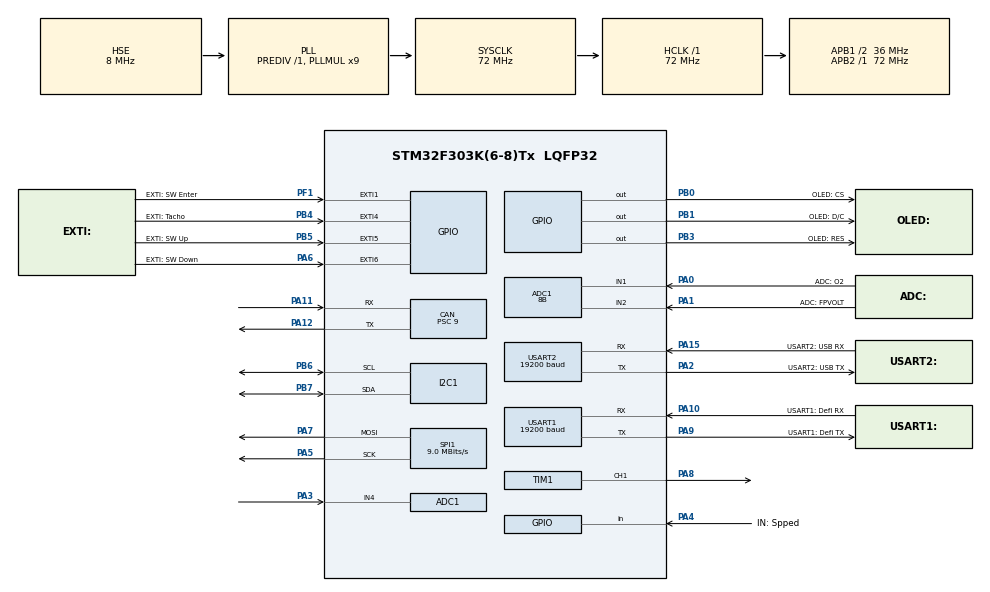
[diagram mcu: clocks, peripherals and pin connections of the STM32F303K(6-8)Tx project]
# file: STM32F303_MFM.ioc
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Mcu.Family=STM32F3
TIM2.Channel-Output\ Compare1\ No\ Output=TIM_CHANNEL_1
TIM17.Prescaler=2198-1
RCC.CortexFreq_Value=72000000
VP_TIM17_VS_ClockSourceINT.Mode=Enable_Timer
NVIC.DMA1_Channel5_IRQn=true\:0\:0\:false\:false\:true\:false\:true
PF0\ /\ OSC_IN.Mode=HSE-External-Clock-Source
SPI1.VirtualType=VM_MASTER
ADC1.ContinuousConvMode=ENABLE
PB4.GPIO_ModeDefaultEXTI=GPIO_MODE_IT_FALLING
NVIC.CAN_RX0_IRQn=true\:12\:0\:true\:false\:true\:true\:true
USART1.BaudRate=19200
USART1.WordLength=WORDLENGTH_9B
USART2.Parity=PARITY_EVEN
RCC.SYSCLKSourceVirtual=RCC_SYSCLKSOURCE_PLLCLK
PA0.GPIO_Label=ADC\: O2
PA11.Mode=Master
PB0.GPIO_Label=OLED\: CS
PA6.GPIO_Label=EXTI\: SW Down
NVIC.TIM6_DAC1_IRQn=true\:4\:0\:true\:false\:true\:true\:true
PB3.GPIO_Speed=GPIO_SPEED_FREQ_LOW
ProjectManager.StackSize=0x400
VP_TIM7_VS_ClockSourceINT.Mode=Enable_Timer
PA15.GPIO_Label=USART2\: USB RX
NVIC.EXTI1_IRQn=true\:10\:0\:true\:false\:true\:true\:true
PA12.Signal=CAN_TX
CAN.Prescaler=9
TIM1.Prescaler=72-1
SPI1.CLKPolarity=SPI_POLARITY_LOW
ADC1.Offset-0\#ChannelRegularConversion=0
SPI1.Direction=SPI_DIRECTION_2LINES
RCC.HCLKFreq_Value=72000000
ADC1.Resolution=ADC_RESOLUTION_8B
ADC1.Offset-1\#ChannelRegularConversion=0
RCC.APB2TimFreq_Value=72000000
TIM3.Period=65536-1
PB6.Signal=I2C1_SCL
Dma.ADC1.0.Direction=DMA_PERIPH_TO_MEMORY
PB6.Mode=I2C
SPI1.CalculateBaudRate=9.0 MBits/s
TIM7.Period=10000-1
ADC1.SubFamily=STM32F303x8
Dma.USART1_RX.1.MemInc=DMA_MINC_ENABLE
Dma.ADC1.0.MemDataAlignment=DMA_MDATAALIGN_HALFWORD
RCC.AHBFreq_Value=72000000
ADC1.Channel-0\#ChannelRegularConversion=ADC_CHANNEL_1
RCC.HSE_VALUE=8000000
Dma.USART1_RX.1.PeriphDataAlignment=DMA_PDATAALIGN_BYTE
VP_TIM2_VS_no_output1.Mode=Output Compare1 No Output
PA4.GPIO_PuPd=GPIO_PULLUP
USART2.VirtualMode-Asynchronous=VM_ASYNC
PA15.Mode=Asynchronous
RCC.PLLMUL=RCC_PLL_MUL9
TIM17.Period=32768-1
PA6.GPIO_PuPd=GPIO_PULLUP
TIM1.Channel-PWM\ Generation1\ CH1=TIM_CHANNEL_1
TIM3.Prescaler=360-1
PB1.GPIO_Label=OLED\: D/C
Dma.ADC1.0.PeriphInc=DMA_PINC_DISABLE
NVIC.TIM2_IRQn=true\:3\:0\:true\:false\:true\:true\:true
SPI1.DataSize=SPI_DATASIZE_8BIT
PA10.GPIO_Label=USART1\: Defi RX
PA0.Mode=IN1-Single-Ended
PB7.Signal=I2C1_SDA
PA8.Signal=S_TIM1_CH1
TIM6.Period=65536-1
PF1\ /\ OSC_OUT.GPIO_PuPd=GPIO_PULLUP
PB6.GPIO_PuPdOD=GPIO_PULLUP
CAN.CalculateTimeQuantum=250.0
VP_TIM1_VS_ClockSourceINT.Mode=Internal
ADC1.SamplingTime-0\#ChannelRegularConversion=ADC_SAMPLETIME_601CYCLES_5
PA0.Signal=ADC1_IN1
Dma.USART1_RX.1.Mode=DMA_CIRCULAR
Mcu.Package=LQFP32
TIM2.Prescaler=720-1
PB1.Signal=GPIO_Output
PA6.Signal=GPXTI6
ADC1.EnableInjectedConversion=DISABLE
PF1\ /\ OSC_OUT.GPIO_ModeDefaultEXTI=GPIO_MODE_IT_FALLING
PB6.GPIO_FM6=__NULL
PA2.GPIO_Label=USART2\: USB TX
PA10.Signal=USART1_RX
PA15.Signal=USART2_RX
ADC1.OffsetNumber-1\#ChannelRegularConversion=ADC_OFFSET_NONE
USART2.WordLength=WORDLENGTH_9B
Dma.USART1_RX.1.PeriphInc=DMA_PINC_DISABLE
PB5.GPIO_Label=EXTI\: SW Up
TIM16.AutoReloadPreload=TIM_AUTORELOAD_PRELOAD_DISABLE
Dma.Request1=USART1_RX
RCC.APB1TimFreq_Value=72000000
TIM1.Period=100-1
Dma.USART1_RX.1.Priority=DMA_PRIORITY_LOW
TIM16.Prescaler=2198-1
NVIC.USART1_IRQn=true\:5\:0\:true\:false\:true\:true\:true
Dma.Request0=ADC1
SPI1.BaudRatePrescaler=SPI_BAUDRATEPRESCALER_8
PA4.GPIO_Label=IN\: Spped
VP_TIM3_VS_ClockSourceINT.Mode=Internal
PB4.Signal=GPXTI4
PA3.Signal=ADC1_IN4
PA5.Mode=TX_Only_Simplex_Unidirect_Master
PB3.GPIO_Label=OLED\: RES
PB5.GPIO_ModeDefaultEXTI=GPIO_MODE_IT_FALLING
NVIC.CAN_TX_IRQn=true\:14\:0\:true\:false\:true\:true\:true
RCC.PLLSourceVirtual=RCC_PLLSOURCE_HSE
NVIC.EXTI4_IRQn=true\:2\:0\:true\:false\:true\:true\:true
Dma.USART1_RX.1.Instance=DMA1_Channel5
NVIC.CAN_RX1_IRQn=true\:13\:0\:true\:false\:true\:true\:true
PA6.GPIO_ModeDefaultEXTI=GPIO_MODE_IT_FALLING
Dma.ADC1.0.Instance=DMA1_Channel1
Dma.USART1_RX.1.MemDataAlignment=DMA_MDATAALIGN_BYTE
ADC1.Rank-0\#ChannelRegularConversion=1
PA7.Mode=TX_Only_Simplex_Unidirect_Master
TIM3.Channel-Output\ Compare1\ No\ Output=TIM_CHANNEL_1
PA10.Mode=Asynchronous
TIM1.CounterMode=TIM_COUNTERMODE_UP
ADC1.OffsetNumber-0\#ChannelRegularConversion=ADC_OFFSET_NONE
PA9.GPIO_Label=USART1\: Defi TX
TIM6.Prescaler=360-1
VP_TIM6_VS_ClockSourceINT.Mode=Enable_Timer
VP_TIM16_VS_ClockSourceINT.Mode=Enable_Timer
NVIC.TIM7_DAC2_IRQn=true\:11\:0\:true\:false\:true\:true\:true
RCC.APB1CLKDivider=RCC_HCLK_DIV2
NVIC.USART2_IRQn=true\:15\:0\:true\:false\:true\:true\:true
USART2.BaudRate=19200
CAN.CalculateTimeBit=1333
USART1.VirtualMode-Asynchronous=VM_ASYNC
PA3.Mode=IN4-Single-Ended
TIM1.AutoReloadPreload=TIM_AUTORELOAD_PRELOAD_DISABLE
Dma.ADC1.0.PeriphDataAlignment=DMA_PDATAALIGN_HALFWORD
PA9.Mode=Asynchronous
CAN.BS1=CAN_BS1_6TQ
SH.S_TIM1_CH1.0=TIM1_CH1,PWM Generation1 CH1
PF1\ /\ OSC_OUT.GPIO_Label=EXTI\: SW Enter
ProjectManager.TargetToolchain=Makefile
Dma.ADC1.0.Mode=DMA_CIRCULAR
Dma.ADC1.0.Priority=DMA_PRIORITY_LOW
PA9.Signal=USART1_TX
USART1.Parity=PARITY_EVEN
ADC1.Channel-1\#ChannelRegularConversion=ADC_CHANNEL_2
PB4.GPIO_PuPd=GPIO_PULLUP
PF1\ /\ OSC_OUT.Signal=GPXTI1
PA1.Signal=ADC1_IN2
PA5.Signal=SPI1_SCK
TIM7.Prescaler=720-1
board=NUCLEO-F303K8
VP_TIM3_VS_no_output1.Mode=Output Compare1 No Output
NVIC.TIM3_IRQn=true\:0\:0\:false\:false\:true\:true\:true
TIM16.Period=32768-1
RCC.APB2Freq_Value=72000000
PA1.Mode=IN2-Single-Ended
PF0\ /\ OSC_IN.Signal=RCC_OSC_IN
PB4.GPIO_Label=EXTI\: Tacho
VP_TIM2_VS_ClockSourceINT.Mode=Internal
SPI1.Mode=SPI_MODE_MASTER
PA1.GPIO_Label=ADC\: FPVOLT
ADC1.DMAContinuousRequests=ENABLE
TIM2.Period=2000-1
ADC1.NbrOfConversion=2
Mcu.Name=STM32F303K(6-8)Tx
TIM1.OCMode_PWM-PWM\ Generation1\ CH1=TIM_OCMODE_ASSYMETRIC_PWM2
PA2.Signal=USART2_TX
PB3.Signal=GPIO_Output
PA4.Signal=GPIO_Input
ADC1.SamplingTime-1\#ChannelRegularConversion=ADC_SAMPLETIME_601CYCLES_5
RCC.SYSCLKFreq_VALUE=72000000
PB5.Signal=GPXTI5
ADC1.master=1
PA12.Mode=Master
PB5.GPIO_PuPd=GPIO_PULLUP
ADC1.Rank-1\#ChannelRegularConversion=2
PB7.Mode=I2C
PA11.Signal=CAN_RX
NVIC.EXTI9_5_IRQn=true\:10\:0\:true\:false\:true\:true\:true
Dma.ADC1.0.MemInc=DMA_MINC_ENABLE
ProjectManager.HeapSize=0x200
RCC.HSI_VALUE=8000000
NVIC.TIM1_UP_TIM16_IRQn=true\:15\:0\:true\:false\:true\:true\:true
NVIC.PriorityGroup=NVIC_PRIORITYGROUP_4
ADC1.NbrOfConversionFlag=1
PA2.Mode=Asynchronous
Dma.USART1_RX.1.Direction=DMA_PERIPH_TO_MEMORY
NVIC.DMA1_Channel1_IRQn=true\:0\:0\:false\:false\:true\:false\:true
RCC.APB1Freq_Value=36000000
USART2.Mode=MODE_TX_RX
PB0.Signal=GPIO_Output
ADC1.ClockPrescaler=ADC_CLOCK_SYNC_PCLK_DIV4
PB3.GPIO_ModeDefaultOutputPP=GPIO_MODE_OUTPUT_PP
PA7.Signal=SPI1_MOSI

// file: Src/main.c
/* USER CODE BEGIN Header */
/**
  ******************************************************************************
  * @file           : main.c
  * @brief          : Main program body
  ******************************************************************************
  * @attention
  *
  * <h2><center>&copy; Copyright (c) 2019 STMicroelectronics.
  * All rights reserved.</center></h2>
  *
  * This software component is licensed by ST under BSD 3-Clause license,
  * the "License"; You may not use this file except in compliance with the
  * License. You may obtain a copy of the License at:
  *                        opensource.org/licenses/BSD-3-Clause
  *
  ******************************************************************************
  */
/* USER CODE END Header */
#include "main.h"
#include "adc.h"
#include "can.h"
#include "dma.h"
#include "i2c.h"
#include "spi.h"
#include "tim.h"
#include "usart.h"
#include "gpio.h"

/* USER CODE BEGIN Includes */
#include <stdio.h>
#include <math.h>

// #include "basic.h"  // original library
#include "usart_transmit_printf.h"
#include "u8g2.h"		// graphic display library
#include "u8x8_gpio_STM32F303.h"
#include "u8x8_byte_4wire_hw_spi.h"
#include "draw_Value.h"
#include "draw_BarGraph.h"
#include "draw_IndicatorBox.h"
//#include "draw_Rotary.h"

#include "flag.h"
#include "defi_decoder.h"
#include "pulse_counter.h"
#include "can_obd.h"
#include "gsens_ADXL345.h"

/* USER CODE END Includes */

/* USER CODE BEGIN PV */
/* Private variables ---------------------------------------------------------*/

// Debug
#define DEBUG_USBserial       0

// GSENS USB serial output
#define GSENS_USBserial       1

// mode definition
#define N_mode                6

#define MODE_BAR_METER        0
#define MODE_CIRCULAR_METER   1
// #define MODE_ROTARY           2
#define MODE_SCOPE_MAP        2
#define MODE_Gsens            3
#define MODE_SCOPE_Gsens      4
#define MODE_SETTING          5

// RPM bar graph parameter definition
#define	rpmbar_x		          0
#define	rpmbar_y		          0
#define	rpmbar_width	        128
#define	rpmbar_height	        14
#define	rpm_min			          0
#define	rpm_max			          9000

//// measurements display parameter definition
// Bar graph
#define	N_meas			          6
#define	meas_x			          0
#define	meas_y			          16
#define	meas_x_offset       	2
#define	meas_width1		        70
#define	meas_width2		        56
#define	meas_height		        12
// Circular Meter
#define	N_meas_Circ			      4
#define	meas_Circ_x			      68
#define	meas_Circ_y			      2
#define	meas_Circ_x_offset		2
#define	meas_Circ_width		    60
#define	meas_Circ_height		  13

// Gsens monitor
#define	N_Gmoni			          6
#define	Gmoni_x			          0
#define	Gmoni_y			          0
#define	Gmoni_x_offset       	2
#define	Gmoni_width 		      64
#define	Gmoni_height		      12
// wave display parameter definition
#define	Gcirc_x			          13 // 32 - 38/2
#define	Gcirc_y			          24
#define	Gcirc_size		        38
#define	Gcirc_scale		        200

// indicators parameter definition
#define	N_idct			          2
#define	idct_x			          72
#define	idct_y			          53
 #define	idct_width		      27 // 2-items
// #define	idct_width		    17 // 3-item
#define	idct_height		        9

//  Fuel Pump Voltage display parameter definition
#define	FP_x		    	        0
#define	FP_y                  52
#define	FP_height	            12
#define	FP_volt_width	        45
#define	FP_duty_width	        70

// wave display parameter definition
#define	wave_x			          0
#define	wave_y			          14
#define	wave_width		        128
#define	wave_height		        50
#define	wave_value_min	      -100
#define	wave_value_max	      +200

// einfini logo definition (small 'enfini' logo)
#define enfini_logo_width        48
#define enfini_logo_height       48
const unsigned char enfini_logo[] = {
  0x00, 0x00, 0x00, 0x00, 0x00, 0x00, 0x00, 0x00, 0x00, 0x00, 0x00, 0x00,
  0x00, 0x00, 0x00, 0x00, 0x00, 0x00, 0x00, 0x00, 0x00, 0x00, 0x00, 0x00,
  0x00, 0x00, 0xF0, 0x0F, 0x00, 0x00, 0x00, 0xFC, 0xFF, 0xFF, 0x3F, 0x00,
  0x80, 0xFF, 0xFF, 0xFF, 0xFF, 0x01, 0xE0, 0x1F, 0x00, 0x80, 0xFF, 0x07,
  0xE0, 0x01, 0x00, 0x80, 0x81, 0x07, 0xE0, 0x01, 0x00, 0x80, 0x81, 0x07,
  0xC0, 0xE1, 0x07, 0xC0, 0x80, 0x03, 0x00, 0xFC, 0x1F, 0xE0, 0x80, 0x03,
  0x00, 0xFE, 0x7F, 0x70, 0xC0, 0x01, 0x00, 0x0F, 0xFE, 0x39, 0xE0, 0x00,
  0x00, 0x07, 0xF8, 0x1F, 0xF0, 0x00, 0x00, 0x0E, 0xE0, 0x1F, 0x78, 0x00,
  0x00, 0x0C, 0xC0, 0xFF, 0x3F, 0x00, 0x00, 0x18, 0x00, 0xFF, 0x1F, 0x00,
  0x00, 0x38, 0xC0, 0xFF, 0x0F, 0x00, 0x00, 0x70, 0xE0, 0xF1, 0x03, 0x00,
  0x00, 0xE0, 0x78, 0x00, 0x00, 0x00, 0x00, 0xC0, 0x3F, 0xE0, 0x01, 0x00,
  0x00, 0x80, 0x1F, 0xF0, 0x01, 0x00, 0x00, 0x00, 0x07, 0xF8, 0x00, 0x00,
  0x00, 0x00, 0x1E, 0x7C, 0x00, 0x00, 0x00, 0x00, 0xF8, 0x1F, 0x00, 0x00,
  0x00, 0x00, 0xF0, 0x0F, 0x00, 0x00, 0x00, 0x00, 0x80, 0x01, 0x00, 0x00,
  0x00, 0x00, 0x00, 0x00, 0x00, 0x00, 0x00, 0x00, 0x00, 0x00, 0x00, 0x00,
  0x00, 0x00, 0x00, 0x00, 0x00, 0x00, 0x00, 0x00, 0x00, 0x00, 0x00, 0x00,
  0x00, 0x00, 0x00, 0x00, 0x00, 0x00, 0x00, 0x4C, 0x1C, 0x00, 0x00, 0x00,
  0x00, 0x32, 0x0E, 0x00, 0x00, 0x00, 0x00, 0x00, 0xC6, 0x00, 0x18, 0x00,
  0x00, 0x7C, 0xEF, 0xFC, 0x39, 0x00, 0x00, 0x4E, 0xC6, 0xB8, 0x31, 0x00,
  0x00, 0x3E, 0xC6, 0x98, 0x31, 0x00, 0x00, 0x3C, 0xC6, 0x98, 0x31, 0x00,
  0x00, 0x0E, 0xC6, 0x98, 0x31, 0x00, 0x00, 0x4E, 0xCE, 0x99, 0x31, 0x00,
  0x00, 0x7C, 0xEF, 0xFD, 0x7B, 0x00, 0x00, 0x00, 0x00, 0x00, 0x00, 0x00,
  0x00, 0x00, 0x00, 0x00, 0x00, 0x00, 0x00, 0x00, 0x00, 0x00, 0x00, 0x00,
  0x00, 0x00, 0x00, 0x00, 0x00, 0x00, 0x00, 0x00, 0x00, 0x00, 0x00, 0x00,
  };

/*
// enfini logo definition (meidium 'enfini' logo)
#define logo_width        54
#define logo_height       48
static unsigned char enfini_logo[] = {
  0x00, 0x00, 0x00, 0x00, 0x00, 0x00, 0x00, 0x00, 0x00, 0xF8, 0xFF, 0x0F,
  0x00, 0x00, 0x00, 0xFC, 0xFF, 0xFF, 0xFF, 0x1F, 0x00, 0xE0, 0xFF, 0xFF,
  0xFF, 0xFF, 0xFF, 0x01, 0xF8, 0x3F, 0x00, 0x00, 0xF0, 0xFF, 0x07, 0xF8,
  0x01, 0x00, 0x00, 0x70, 0xE0, 0x0F, 0x7C, 0x00, 0x00, 0x00, 0x70, 0x80,
  0x0F, 0x7C, 0x00, 0x00, 0x00, 0x70, 0x00, 0x07, 0xF8, 0x00, 0x00, 0x00,
  0x38, 0x80, 0x07, 0x00, 0xF8, 0x3F, 0x00, 0x38, 0x80, 0x07, 0x00, 0xFE,
  0xFF, 0x00, 0x1C, 0xC0, 0x03, 0x80, 0xFF, 0xFF, 0x01, 0x0E, 0xC0, 0x01,
  0xC0, 0x07, 0xFC, 0x07, 0x07, 0xE0, 0x01, 0x80, 0x03, 0xF0, 0x9F, 0x03,
  0xF0, 0x00, 0x80, 0x03, 0xC0, 0xFF, 0x03, 0x78, 0x00, 0x00, 0x07, 0x80,
  0xFF, 0x01, 0x3C, 0x00, 0x00, 0x06, 0x00, 0xFE, 0x87, 0x3F, 0x00, 0x00,
  0x0E, 0x00, 0xF8, 0xFF, 0x1F, 0x00, 0x00, 0x1C, 0x00, 0xF8, 0xFF, 0x07,
  0x00, 0x00, 0x38, 0x00, 0xDE, 0xFF, 0x03, 0x00, 0x00, 0x70, 0x00, 0x0F,
  0x7E, 0x00, 0x00, 0x00, 0xE0, 0xC0, 0x07, 0x00, 0x00, 0x00, 0x00, 0xC0,
  0xF1, 0x01, 0x00, 0x00, 0x00, 0x00, 0x80, 0xFF, 0x00, 0x7C, 0x00, 0x00,
  0x00, 0x00, 0x3F, 0x00, 0x3E, 0x00, 0x00, 0x00, 0x00, 0x0E, 0x00, 0x1F,
  0x00, 0x00, 0x00, 0x00, 0x3C, 0x80, 0x0F, 0x00, 0x00, 0x00, 0x00, 0x78,
  0xE0, 0x07, 0x00, 0x00, 0x00, 0x00, 0xE0, 0xFF, 0x03, 0x00, 0x00, 0x00,
  0x00, 0xC0, 0xFF, 0x00, 0x00, 0x00, 0x00, 0x00, 0x00, 0x3E, 0x00, 0x00,
  0x00, 0x00, 0x00, 0x00, 0x00, 0x00, 0x00, 0x00, 0x00, 0x00, 0x30, 0x00,
  0x00, 0x00, 0x00, 0x00, 0x4E, 0x38, 0x00, 0x00, 0x00, 0x00, 0x00, 0x39,
  0x18, 0x00, 0x00, 0x00, 0x00, 0x00, 0x00, 0x1C, 0x00, 0x00, 0x00, 0x00,
  0x00, 0x7E, 0x3E, 0xC7, 0x3D, 0x1C, 0x00, 0x00, 0x6F, 0x3E, 0xC7, 0x7F,
  0x1C, 0x00, 0x00, 0x03, 0x1C, 0x86, 0x73, 0x18, 0x00, 0x00, 0x07, 0x1C,
  0x86, 0x71, 0x18, 0x00, 0x00, 0x3E, 0x1C, 0x86, 0x71, 0x18, 0x00, 0x00,
  0x1F, 0x1C, 0x86, 0x71, 0x18, 0x00, 0x00, 0x03, 0x1C, 0x86, 0x71, 0x18,
  0x00, 0x00, 0x47, 0x1C, 0x86, 0x71, 0x18, 0x00, 0x00, 0x7F, 0x3E, 0xCF,
  0xFB, 0x3C, 0x00, 0x00, 0x3C, 0x3E, 0xCF, 0xFB, 0x3C, 0x00, 0x00, 0x00,
  0x00, 0x00, 0x00, 0x00, 0x00, 0x00, 0x00, 0x00, 0x00, 0x00, 0x00, 0x00,
  };
*/

u8g2_t    u8g2; // a structure which will contain all the data for one display

uint8_t   update_display = 0;

uint8_t		gear = 0;
double		MT[5] = {3.483, 2.015, 1.391, 1.000, 0.806};

// UI
uint8_t   mode;
uint8_t   setting;
uint8_t   cursor = 0;

// Dummy data generation for debug
uint8_t   DUMMY_DATA;

// variables for indicators
const unsigned char idct_name[N_idct][5] = { // length must be (text length + 1)
		"CAN"	,
		"GSENS"	,
};

uint8_t	idct_status[N_idct] = {
		0	,
		0
};

// variables for measurement
const unsigned char meas_name[N_meas][7] = { // length must be (text length + 1)
		"MAP"         ,
		"OILP"        ,
		"FPV"         ,
		"ECT"         ,
		"OILT"        ,
//		"O2"
    "ES" // tacho_debug
};

const unsigned char meas_unit[N_meas][5] = {
		"kpa"			    ,	// MAP
		"kpa"			    ,	// OILP
		"V  "         ,	// FuelPump Voltage
		{176, 67, 0}  ,	// ECT  degC...{176, 67, 0}
		{176, 67, 0}	,	// OILT  degC...{176, 67, 0}
//		"V"					    // O2
    "rpm" // tacho_debug
};

const uint8_t	meas_digit[N_meas] = {
		3	,	// MAP
		3	,	// OILP
		3	,	// FuelPump Voltage
		3	,	// ECT
		3	,	// OILT
//		3		// O2
		4		// tacho_debug
};

const uint8_t	meas_frac[N_meas] = {
		2	,	// MAP
		1	,	// OILP
		1	,	// FuelPump Voltage
		0	,	// ECT
		0	,	// OILT
//		2		// O2
		0		// tacho_debug
};

const uint8_t	meas_sign[N_meas] = {
		1	,	// MAP
		0	,	// OILP
		0	,	// FuelPump Voltage
		0	,	// ECT
		0	,	// OILT
		0		// O2
};

int16_t	meas_value[N_meas] = {
		105	,	// MAP
		235	,	// OILP
		645	,	// FuelPump Voltage
		89	,	// ECT
		73	,	// OILT
		143		// O2
};

const unsigned char Gmoni_name[N_Gmoni][7] = { // length must be (text length + 1)
		"X0"         ,
		"Y0"        ,
		"Z0"         ,
		"X1"         ,
		"Y1"        ,
		"Z1"
};

int16_t	Gmoni_value[N_Gmoni] = {
		0	  ,	//
		0	  ,	//
		100	,	//
		0	  ,	//
		0	  ,	//
		100		//
};

// O2 senser Voltage
int16_t   O2_volt = 330;

// Fuel Pump Voltage
int16_t   FP_volt = 330;
int16_t   FP_duty = 100;

// CAN Tranceiver --------------------------------------------------
uint8_t   CAN_EN;

// ADXL345 3-axis acceration sensor --------------------------------
uint8_t   Gsens0_EN;
uint8_t   Gsens1_EN;

/* USER CODE END PV */

void SystemClock_Config(void);
/* USER CODE BEGIN PFP */
/* Private function prototypes -----------------------------------------------*/

/* USER CODE END PFP */

/* USER CODE BEGIN 0 */

void draw_indicators(){
  uint8_t n;
  uint8_t x, y;
  // draw indicators

  for( n=0; n<N_idct; n++ ){
    draw_IndicatorBox(&u8g2, idct_x+(idct_width+2)*n, idct_y, idct_width, idct_height, idct_status[n], idct_name[n]);
  }
}

void draw_MeasLabels(){
  uint8_t n;
  uint8_t x, y;
  // draw measurements label & unit
  for( n=0; n<3; n++ ){
    x = meas_x;
	  y = (n % 3) * meas_height	+ meas_y;
	  draw_MeasLabelUnit(&u8g2, x, y, meas_width1, meas_height, meas_name[n], meas_unit[n]);
  }
  for( n=3; n<N_meas; n++ ){
	  x = meas_width1 + meas_x + meas_x_offset;
	  y = (n % 3) * meas_height	+ meas_y;
	  draw_MeasLabelUnit(&u8g2, x, y, meas_width2, meas_height, meas_name[n], meas_unit[n]);
  }

  // Fuel Pump voltage & duty
  draw_MeasLabelUnit(&u8g2, FP_x, FP_y, FP_duty_width, FP_height, "DUTY", "%  ");
  draw_Value(&u8g2, FP_x, FP_y, FP_duty_width, FP_height, 100, 3, 0, 0, "%  ");
}

void draw_MeasLabels_Rotary(){
  uint8_t n;
  uint8_t x, y;
  // draw measurements label & unit
  for( n=0; n<4; n++ ){
	  x = meas_x;
	  y = (n % 4) * meas_height	+ meas_y;
	  draw_MeasLabelUnit(&u8g2, x, y, meas_width1, meas_height, meas_name[n], meas_unit[n]);
  }
}

void draw_GmoniLabels(){
  uint8_t n;
  uint8_t x, y;
  // draw measurements label & unit
  for( n=0; n<3-1; n++ ){
    x = Gmoni_x;
	  y = (n % 3) * Gmoni_height	+ Gmoni_y;
	  draw_MeasLabelUnit(&u8g2, x, y, Gmoni_width, Gmoni_height, Gmoni_name[n], "G");
  }
  for( n=3; n<N_Gmoni-1; n++ ){
	  x = Gmoni_width + Gmoni_x + Gmoni_x_offset;
	  y = (n % 2) * Gmoni_height	+ Gmoni_y;
	  draw_MeasLabelUnit(&u8g2, x, y, Gmoni_width, Gmoni_height, Gmoni_name[n], "G");
  }

}

// volatile unsigned char    UART1_Data;
volatile unsigned char    UART2_Data;

// UART Receive Interrupt
void HAL_UART_RxCpltCallback(UART_HandleTypeDef *UartHandle){

  // UART1 for defi : DMA
  if(UartHandle->Instance==USART2){ // USB serial
    HAL_UART_Receive_IT(&huart2, &UART2_Data, 1);
    HAL_UART_Transmit_printf(&huart2, "Received data : %c\n", UART2_Data);
  }

}

// ADC buffer definition
enum{ ADC_BUFFER_LENGTH = 10 };
uint16_t g_ADCBuffer[ADC_BUFFER_LENGTH];
uint16_t adc[ADC_BUFFER_LENGTH];

void HAL_ADC_ConvCpltCallback(ADC_HandleTypeDef* hadc){
	for (unsigned int i =0; i<ADC_BUFFER_LENGTH; i++){
	   adc[i] = g_ADCBuffer[i];  // store the values in adc[]
	}
}

/* USER CODE END 0 */

int main(void)
{

  /* MCU Configuration--------------------------------------------------------*/

  /* Reset of all peripherals, Initializes the Flash interface and the Systick. */
  HAL_Init();

  /* USER CODE BEGIN Init */
  uint8_t n;
  uint8_t x, y;

  uint8_t a = 0; // for dummy data
  uint8_t b = 0; // for dummy data

  // ROTARY
  uint16_t  rpm_integral;
  uint8_t   index_animation;

  // circular buffer for ADC data
  uint16_t  circular_buffer_index = 0;
  int16_t   circular_buffer[128]={};

  /* USER CODE END Init */

  /* Configure the system clock */
  SystemClock_Config();

  /* Initialize all configured peripherals */
  MX_GPIO_Init();
  MX_DMA_Init();
  MX_ADC1_Init();
  MX_CAN_Init();
  MX_I2C1_Init();
  MX_SPI1_Init();
  MX_TIM1_Init();
  MX_TIM2_Init();
  MX_TIM3_Init();
  MX_TIM6_Init();
  MX_USART1_UART_Init();
  MX_USART2_UART_Init();
  MX_TIM7_Init();
  MX_TIM16_Init();
  MX_TIM17_Init();
  /* USER CODE BEGIN 2 */

  ///// PWM initialize ----------------------------------------------------------------

  ///// Timer /////
  // TIM1 - PWM for Fuel Pump Driver (Cycle 100kHz = 1MHz / 100count)
  //  if (HAL_TIM_Base_Start_IT(&htim1) != HAL_OK){
  if (HAL_TIM_PWM_Start(&htim1, TIM_CHANNEL_1) != HAL_OK){
    Error_Handler();
  }

  // TIM2 - display (Cycle 20ms = 1/100kHz x 2,000count)
  if (HAL_TIM_Base_Start_IT(&htim2) != HAL_OK){
    Error_Handler();
  }

  // TIM3 - Pulse counter for Tacho (f 200kHz, count 65535)
  if (HAL_TIM_Base_Start_IT(&htim3) != HAL_OK){
    Error_Handler();
  }

  // TIM6 - Pulse counter for Speed (f 200kHz, count 65535)
  if (HAL_TIM_Base_Start_IT(&htim6) != HAL_OK){
    Error_Handler();
  }

  // TIM7 - SW interrupt control (Cycle 100ms = 1/100kHz x 10,000count)
  if (HAL_TIM_Base_Start_IT(&htim7) != HAL_OK){
    Error_Handler();
  }

  // TIM16 - Status control (Cycle 1000ms = 1/32.757kHz x 32,768count)
  if (HAL_TIM_Base_Start_IT(&htim16) != HAL_OK){
    Error_Handler();
  }

  // TIM17 - Status control (Cycle 1000ms = 1/32.757kHz x 32,768count)
  if (HAL_TIM_Base_Start_IT(&htim17) != HAL_OK){
    Error_Handler();
  }

  // ADC
  HAL_ADC_Start_DMA(&hadc1, g_ADCBuffer, ADC_BUFFER_LENGTH);

  // UART1 interrupt setup for DEFI decoder
  defi_init(); // DMA
  HAL_UART_Receive_DMA(&huart1, &UART_RxData, sizeof(UART_RxData));
  // HAL_UART_Receive_IT(&huart1, &UART1_Data, 1);
  // variables is defined in 'defi_decoder.h'

  // UART2 interrupt setup for USB serial
  HAL_UART_Receive_IT(&huart2, &UART2_Data, 1);

  // CAN initialization
  CAN_OBD_Init();

  // DEMO MODE
  if( HAL_GPIO_ReadPin( GPIOF, GPIO_PIN_1 ) == 0 ){ // PF1 is pushed ?
    DUMMY_DATA = 1;
  }

  // OLED diaplay initialization
  // 128x64 2.42inch SPI
   u8g2_Setup_ssd1309_128x64_noname2_f(&u8g2, U8G2_R0, u8x8_byte_4wire_hw_spi, u8x8_gpio_and_delay_STM32F303);  // init u8g2 structure
  // 128x64 1.3inch SPI
  //u8g2_Setup_sh1106_128x64_noname_f(&u8g2, U8G2_R0, u8x8_byte_4wire_hw_spi, u8x8_gpio_and_delay_STM32F303);  // init u8g2 structure

  // OLED display Reset (must be more than 3us!!)
  HAL_GPIO_WritePin( GPIOB, GPIO_PIN_3, 0); // Set RES=L (OLED Reset)
  HAL_Delay(5);
  HAL_GPIO_WritePin( GPIOB, GPIO_PIN_3, 1); // Set RES=H (OLED activate)

  u8g2_InitDisplay(&u8g2); // send init sequence to the display, display is in sleep mode after this,
  u8g2_SetPowerSave(&u8g2, 0); // wake up display
  u8g2_SetContrast(&u8g2, 255); // set contrast
  u8g2_ClearDisplay(&u8g2);

  // draw opening
  u8g2_DrawXBMP(&u8g2, 40, 0, enfini_logo_width, enfini_logo_height, enfini_logo );

  u8g2_SetFont(&u8g2, u8g2_font_5x7_tf);
  u8g2_DrawStr(&u8g2, 16, 63 - 8, "Multi Function Meter");
  u8g2_DrawStr(&u8g2, 40, 64, "Rev. 0.5a");
  u8g2_SendBuffer(&u8g2);
  if( DUMMY_DATA ){
    u8g2_DrawStr(&u8g2, 0, 8, "DUMMY DATA MODE");
    u8g2_SendBuffer(&u8g2);
    HAL_Delay(500);
  }
  u8g2_SendBuffer(&u8g2);

  HAL_Delay(1000);

  u8g2_ClearBuffer(&u8g2);

  HAL_UART_Transmit_printf(&huart2, "Hello. This is MFM.\n");

  // Set PWM Duty for Timer1 / Output1 (Asymmetric PWM2)
  TIM1->CCR1 = (100 - FP_duty);

  /* USER CODE END 2 */

  /* Infinite loop */
  /* USER CODE BEGIN WHILE */

  draw_MeasLabels();
  draw_indicators();
  u8g2_SendBuffer(&u8g2);

  // I2C communication to ADXL345(3-axis G-sensor)
  Gsens0_EN = Gsens_ADXL345_Init(0);
  Gsens1_EN = Gsens_ADXL345_Init(1);

  while(1){
    /* USER CODE END WHILE */

    /* USER CODE BEGIN 3 */

/*
    // DEBUG - Defi value monitor
    for( n=0; n<7; n++ ){
      HAL_UART_Transmit_printf(&huart2, "%d, ", DEFI_value[n]);
    }
    HAL_UART_Transmit_printf(&huart2, "\n");
    // DEBUG - Defi value monitor
*/

    // UART1 Error control
    if (  __HAL_UART_GET_FLAG(&huart1, UART_FLAG_ORE) || __HAL_UART_GET_FLAG(&huart1, UART_FLAG_NE) ||
          __HAL_UART_GET_FLAG(&huart1, UART_FLAG_FE ) || __HAL_UART_GET_FLAG(&huart1, UART_FLAG_PE) ){
      HAL_UART_Abort(&huart1);
      HAL_UART_Receive_DMA(&huart1, &UART_RxData, sizeof(UART_RxData)); //DMA
      //HAL_UART_Receive_IT(&huart1, &UART1_Data, 1); // Interrupt
    }

    ///// STATUS ----------------------------------------------------------------
    if( flag_status ){
      CAN_EN = 0;
      flag_status = 0;
    }

    if( CAN_EN == 0 ){
      CAN_EN = CAN_Received;
    }

    idct_status[0] = CAN_EN;
    idct_status[1] = Gsens0_EN & Gsens1_EN;

    ///// ADC ----------------------------------------------------------------

		// read O2 sensor ADC output
		O2_volt = (int16_t)(100.0 * 3.3 * (float)adc[0]/255.0);
    // Resister attenation ratio
    //    O2 amp : 1
    //    MFM Board : 1
    // Fractional digit : 0.01 = 100.0

		// read Fuel Pump Voltage ADC output
		FP_volt = (int16_t)(5.0 * 2.0 * 10.0 * 3.3 * (float)adc[1]/255.0);
    // Resister attenation ratio
    //    Fuel Pump driver : 1/5
    //    MFM Board : 1/2
    // Fractional digit : 0.1 = 10.0

    ///// CAN ----------------------------------------------------------------

    CAN_OBD_Response(DEFI_value[0], rpm, speed, 0x00, DEFI_value[6], DEFI_value[5], DEFI_value[3], 0);
    //               MAP          , RPM, Speed, TPS , CoolantTemp  , OilTemp      , FuelPress    , IntakeAirTemp

    ///// Fuel Pump Driver ----------------------------------------------------------------
    // Duty calculation
    if( (rpm >= 3000)|(DEFI_value[0] > 0) ){ // DEFI_value[0] .. MAP
      FP_duty = 100;
    }else{
      FP_duty = (uint16_t)((float)rpm/3000.0*100.0);
    }
    // Saturation process
    if( FP_duty > 100 ){
      FP_duty = 100;
    }else if( FP_duty < 60 ){
      FP_duty = 60;
    }
    // Set PWM Duty for Timer1 / Output1 (Asymmetric PWM2)
    TIM1->CCR1 = (100 - FP_duty);

    ///// Measure data  ----------------------------------------------------------------
    defi_decoder(); // DEFI decoder

/*
// defi link tacho meter debug ==========================================
    HAL_UART_Transmit_printf(&huart2, "%d,%d,%d\n", DEFI_debug, DEFI_debug2, rpm);
*/

    if( flag_meas ){

      // I2C communication to ADXL345(3-axis G-sensor)
      if( Gsens0_EN ){
        // Acceration 1G = 100
        Gmoni_value[0] = Gsens_ADXL345_Read_G('x', 0);
        Gmoni_value[1] = Gsens_ADXL345_Read_G('y', 0);
        Gmoni_value[2] = Gsens_ADXL345_Read_G('z', 0);

        #ifdef GSENS_USBserial
          HAL_UART_Transmit_printf(&huart2, "Ch0, %d, %d , %d,   ", Gmoni_value[0], Gmoni_value[1], Gmoni_value[2]);
        #endif
      }

      if( Gsens1_EN ){
        // Acceration 1G = 100
        Gmoni_value[3] = Gsens_ADXL345_Read_G('x', 1);
        Gmoni_value[4] = Gsens_ADXL345_Read_G('y', 1);
        Gmoni_value[5] = Gsens_ADXL345_Read_G('z', 1);

        #ifdef GSENS_USBserial
          HAL_UART_Transmit_printf(&huart2, "Ch1, %d, %d, %d\n", Gmoni_value[3], Gmoni_value[4], Gmoni_value[5]);
        #endif
      }

      // Measure values
      meas_value[0] = DEFI_value[0];  // MAP
		  meas_value[1] = DEFI_value[2];  // OILP
			meas_value[2] = FP_volt;        // FuelPump Voltage
		  meas_value[3] = DEFI_value[6];  // ECT
			meas_value[4] = DEFI_value[5];  // OILT
//		  meas_value[5] = O2_volt;        // O2
		  meas_value[5] = DEFI_value[1];  // TACHO // DEBUG TACHO

      if( DUMMY_DATA ){
        // MAP
        if( DEFI_value[0] > 90 ){
          DEFI_value[0] = -60;
        }else{
          DEFI_value[0] = DEFI_value[0] + 1;
        }
        // OILP
        if( DEFI_value[2] > 60 ){
          DEFI_value[2] = 15;
        }else{
          DEFI_value[2] = DEFI_value[2] + 1;
        }
        // ECT
        if( DEFI_value[6] > 120 ){
          DEFI_value[6] = 60;
        }else{
          DEFI_value[6] = DEFI_value[6] + 1;
        }
        // OILT
        if( DEFI_value[5] > 120 ){
          DEFI_value[5] = 50;
        }else{
          DEFI_value[5] = DEFI_value[5] + 1;
        }
        // Tacho
        if( rpm > 8500 ){
          rpm = 750;
        }else{
          rpm = 0;
        }
      }

      flag_meas = 0; // enable again by TIM2 interrupt

    }

    ///// Switch ----------------------------------------------------------------
    if( flag_sw != 0 ){
      #if DEBUG_USBserial
      HAL_UART_Transmit_printf(&huart2, " SW="); // debug
      #endif
      switch( flag_sw ){
        case 1: // SW "UP"
          #if DEBUG_USBserial
          HAL_UART_Transmit_printf(&huart2, "UP "); // debug
          #endif
          HAL_NVIC_DisableIRQ(EXTI9_5_IRQn); // Re-Enable IRQ by Timer(TIM7) in stm32f3xx_it.c
          if( mode != MODE_SETTING ){
            if( mode == N_mode-1 ){
              mode = 0;
            }else{
              mode++;
            }
          }
          break;
        case 2: // SW "DOWN"
          #if DEBUG_USBserial
          HAL_UART_Transmit_printf(&huart2, "DOWN "); // debug
          #endif
          HAL_NVIC_DisableIRQ(EXTI9_5_IRQn); // Re-Enable IRQ by Timer(TIM7) in stm32f3xx_it.c
          if( mode != MODE_SETTING ){
            if( mode == 0 ){
              mode = N_mode-1;
            }else{
              mode--;
            }
          }
          break;
        case 3: // SW "ENTER"
          #if DEBUG_USBserial
          HAL_UART_Transmit_printf(&huart2, "ENTER "); // debug
          #endif
          HAL_NVIC_DisableIRQ (EXTI1_IRQn); // Re-Enable IRQ by Timer in stm32f3xx_it.c

          // if( setting == 0 ){
          //   mode = cursor;
          //   u8g2_ClearBuffer(&u8g2);
          // }else{
          //   mode = 10;
          // }
          // break;

        default:
          break;
      }

      u8g2_ClearBuffer(&u8g2);
      if( mode == MODE_BAR_METER ){
        draw_MeasLabels();
        draw_indicators();

      }else if( mode == MODE_CIRCULAR_METER ){
        for( n=0; n<N_meas_Circ; n++ ){
          x = meas_Circ_x;
          y = n * meas_Circ_height	+ meas_Circ_y;
          draw_MeasLabelUnit(&u8g2, x, y, meas_Circ_width, meas_Circ_height, meas_name[n], meas_unit[n]);
        }
        // draw indicators
        for( n=0; n<4; n++ ){
          draw_IndicatorBox(&u8g2, idct_x+(idct_width+2)*n, idct_y, idct_width, idct_height, idct_status[n], idct_name[n]);
        }
        draw_CircularMeter_Init(32, 32, 31, 3, -60, 300, 10, 20, -1, -80, 120);
//        draw_CircularMeter_Init(26, 26, 26, 3, -60, 300, 10, 20, -1, -80, 120);
        draw_CircularMeter(&u8g2, 0);
/*
      }else if( mode == MODE_ROTARY ){
        draw_MeasLabels_Rotary();
        draw_MeasLabelUnit(&u8g2, 0, 2, meas_width1, meas_height, "TACHO", "rpm");
*/
      }else if( mode == MODE_SCOPE_MAP ){
        draw_Wave_axis(&u8g2, wave_x, wave_y, wave_width, wave_height, wave_value_min, wave_value_max, 3);
        draw_MeasLabelUnit(&u8g2, 0, 0, 64, 13, "MAP", "kPa");

      }else if( mode == MODE_Gsens ){
        draw_GmoniLabels();

      }else if( mode == MODE_SCOPE_Gsens ){
        draw_Wave_axis(&u8g2, wave_x, wave_y, wave_width, wave_height, -200, 200, 4);
        draw_MeasLabelUnit(&u8g2, 0, 0, 128, 13, "2ch Average LatG", "G");

      }
      u8g2_SendBuffer(&u8g2);

      TIM7->CNT = 0;

      flag_sw = 0;
    }

    ///// Display sequence ----------------------------------------------------------------
    if( flag_disp ){

      ///// multi meter /////
      if( mode == MODE_BAR_METER ){

        // update Fuel Pump Voltage
        draw_Value(&u8g2, FP_x, FP_y, FP_duty_width, FP_height, FP_duty, 3, 0, 0, "%  ");

        // draw bar graph
        draw_BarGraph(&u8g2, rpmbar_x, rpmbar_y, rpmbar_width, rpmbar_height, rpm, rpm_min, rpm_max);

        // draw measurement data
        for( n=0; n<3; n++ ){
          x = meas_x;
          y = (n % 3) * meas_height	+ meas_y;
          draw_Value(&u8g2, x, y, meas_width1, meas_height, meas_value[n], meas_digit[n], meas_frac[n], meas_sign[n], meas_unit[n]);
        }
        for( n=3; n<N_meas; n++ ){
          x = meas_width1 + meas_x + meas_x_offset;
          y = (n % 3) * meas_height	+ meas_y;
          draw_Value(&u8g2, x, y, meas_width2, meas_height, meas_value[n], meas_digit[n], meas_frac[n], meas_sign[n], meas_unit[n]);
        }

        draw_indicators();

      ///// Circular Meter /////
      }else if( mode == MODE_CIRCULAR_METER ){

        draw_CircularMeter(&u8g2, meas_value[0]);

        draw_Value(&u8g2, 36, 33, 30, 16, meas_value[0], 3, 2, 1, "");
        draw_MeasUnit(&u8g2, 38, 40, 28, 16, "kPa");

        // draw measurement data
        for( n=0; n<N_meas_Circ; n++ ){
          x = meas_Circ_x;
          y = n * meas_Circ_height	+ meas_Circ_y;
          draw_Value(&u8g2, x, y, meas_Circ_width, meas_Circ_height, meas_value[n], meas_digit[n], meas_frac[n], meas_sign[n], meas_unit[n]);
        }

/*
      ///// Rotary Meter /////
      }else if( mode == MODE_ROTARY ){

        rpm_integral = rpm_integral + rpm;
        if( rpm_integral > 10000 ){
          rpm_integral = rpm_integral - 10000;
        }
        index_animation = (uint8_t)( (float)rpm_integral / 1000.0 );

        draw_Rotary(&u8g2, 58, 2, index_animation);

        draw_MeasLabelUnit(&u8g2, 0, 2, meas_width1, meas_height, "TACHO", "rpm");
        draw_Value(&u8g2, 0, 2, meas_width1, meas_height, rpm, 4, 0, 0, "rpm");

        draw_MeasLabels_Rotary();
        // draw measurement data
        for( n=0; n<4; n++ ){
          x = meas_x;
          y = (n % 4) * meas_height	+ meas_y;
          draw_Value(&u8g2, x, y, meas_width1, meas_height, meas_value[n], meas_digit[n], meas_frac[n], meas_sign[n], meas_unit[n]);
        }
*/

      ///// Scope /////
      }else if( mode == MODE_SCOPE_MAP ){

        if( circular_buffer_index > 0 ){
          circular_buffer_index--;
        }else{
          circular_buffer_index = 128;
        }
        circular_buffer[circular_buffer_index] = meas_value[0];

        // draw wave
        draw_Wave(&u8g2, wave_x, wave_y, wave_width, wave_height, wave_value_min, wave_value_max, circular_buffer, circular_buffer_index);
        draw_Value(&u8g2, 0, 0, 64, 13, circular_buffer[circular_buffer_index], 3, 2, 1, "kPa");

      ///// G-Sens monitor /////
      }else if( mode == MODE_Gsens ){

        // draw Gsens data
        for( n=0; n<3-1; n++ ){
          x = Gmoni_x;
          y = (n % 3) * Gmoni_height	+ Gmoni_y;
          draw_Value(&u8g2, x, y, Gmoni_width, Gmoni_height, Gmoni_value[n], 3, 2, 1, "G");
        }
        for( n=3; n<N_Gmoni-1; n++ ){
          x = Gmoni_width + Gmoni_x + Gmoni_x_offset;
          y = (n % 3) * Gmoni_height	+ Gmoni_y;
          draw_Value(&u8g2, x, y, Gmoni_width, Gmoni_height, Gmoni_value[n], 3, 2, 1, "G");
        }

        u8g2_SetDrawColor(&u8g2, 0);
        u8g2_DrawDisc(&u8g2, Gcirc_x+Gcirc_size/2 + 0, Gcirc_y+Gcirc_size/2, Gcirc_size/2, U8G2_DRAW_ALL);
        u8g2_SetDrawColor(&u8g2, 1);
        u8g2_DrawCircle(&u8g2, Gcirc_x+Gcirc_size/2 + 0, Gcirc_y+Gcirc_size/2, Gcirc_size/2, U8G2_DRAW_ALL);
        u8g2_DrawDisc(&u8g2, Gcirc_x+Gcirc_size/2 + 0 + (Gcirc_size/2*Gmoni_value[1]/(int16_t)Gcirc_scale), Gcirc_y+Gcirc_size/2 + (Gcirc_size/2*Gmoni_value[0]/(int16_t)Gcirc_scale), 1, U8G2_DRAW_ALL);

        u8g2_SetDrawColor(&u8g2, 0);
        u8g2_DrawDisc(&u8g2, Gcirc_x+Gcirc_size/2 + 64, Gcirc_y+Gcirc_size/2, Gcirc_size/2, U8G2_DRAW_ALL);
        u8g2_SetDrawColor(&u8g2, 1);
        u8g2_DrawCircle(&u8g2, Gcirc_x+Gcirc_size/2 +64, Gcirc_y+Gcirc_size/2, Gcirc_size/2, U8G2_DRAW_ALL);
        u8g2_DrawDisc(&u8g2, Gcirc_x+Gcirc_size/2 + 64 + (Gcirc_size/2*Gmoni_value[4]/(int16_t)Gcirc_scale), Gcirc_y+Gcirc_size/2 + (Gcirc_size/2*Gmoni_value[3]/(int16_t)Gcirc_scale), 1, U8G2_DRAW_ALL);

      ///// G-Scope /////
      }else if( mode == MODE_SCOPE_Gsens ){

        if( circular_buffer_index > 0 ){
          circular_buffer_index--;
        }else{
          circular_buffer_index = 128;
        }
        circular_buffer[circular_buffer_index] = ( Gmoni_value[1] + Gmoni_value[4] ) /2;

        // draw wave
        draw_Wave(&u8g2, wave_x, wave_y, wave_width, wave_height, -200, +200, circular_buffer, circular_buffer_index);
        draw_Value(&u8g2, 0, 0, 128, 13, circular_buffer[circular_buffer_index], 3, 2, 1, "G");

      // mode setting
      }else if( mode == MODE_SETTING ){

        u8g2_ClearBuffer(&u8g2);
        u8g2_SetFont(&u8g2, u8g2_font_7x14B_tf);
        u8g2_DrawStr(&u8g2, 2, 15, "Mode Setting" );
        if( cursor == 0 ){
          u8g2_DrawStr(&u8g2, 2, 30, ">" );
        }else{
          u8g2_DrawStr(&u8g2, 2, 30, " " );
        }
        u8g2_DrawStr(&u8g2,10, 30, "Multi-Meter" );
        if( cursor == 1 ){
          u8g2_DrawStr(&u8g2, 2, 45, ">" );
        }else{
          u8g2_DrawStr(&u8g2, 2, 45, " " );
        }
        u8g2_DrawStr(&u8g2,10, 45, "Scope" );
        u8g2_SendBuffer(&u8g2);

      }
      // send buffer
      u8g2_SendBuffer(&u8g2);

      flag_disp = 0; // enable again by TIM2 interrupt
    }

  }
  /* USER CODE END 3 */
}

void SystemClock_Config(void)
{
  RCC_OscInitTypeDef RCC_OscInitStruct = {0};
  RCC_ClkInitTypeDef RCC_ClkInitStruct = {0};
  RCC_PeriphCLKInitTypeDef PeriphClkInit = {0};

  /** Initializes the RCC Oscillators according to the specified parameters
  * in the RCC_OscInitTypeDef structure.
  */
  RCC_OscInitStruct.OscillatorType = RCC_OSCILLATORTYPE_HSI|RCC_OSCILLATORTYPE_HSE;
  RCC_OscInitStruct.HSEState = RCC_HSE_BYPASS;
  RCC_OscInitStruct.HSEPredivValue = RCC_HSE_PREDIV_DIV1;
  RCC_OscInitStruct.HSIState = RCC_HSI_ON;
  RCC_OscInitStruct.HSICalibrationValue = RCC_HSICALIBRATION_DEFAULT;
  RCC_OscInitStruct.PLL.PLLState = RCC_PLL_ON;
  RCC_OscInitStruct.PLL.PLLSource = RCC_PLLSOURCE_HSE;
  RCC_OscInitStruct.PLL.PLLMUL = RCC_PLL_MUL9;
  if (HAL_RCC_OscConfig(&RCC_OscInitStruct) != HAL_OK)
  {
    Error_Handler();
  }
  /** Initializes the CPU, AHB and APB buses clocks
  */
  RCC_ClkInitStruct.ClockType = RCC_CLOCKTYPE_HCLK|RCC_CLOCKTYPE_SYSCLK
                              |RCC_CLOCKTYPE_PCLK1|RCC_CLOCKTYPE_PCLK2;
  RCC_ClkInitStruct.SYSCLKSource = RCC_SYSCLKSOURCE_PLLCLK;
  RCC_ClkInitStruct.AHBCLKDivider = RCC_SYSCLK_DIV1;
  RCC_ClkInitStruct.APB1CLKDivider = RCC_HCLK_DIV2;
  RCC_ClkInitStruct.APB2CLKDivider = RCC_HCLK_DIV1;

  if (HAL_RCC_ClockConfig(&RCC_ClkInitStruct, FLASH_LATENCY_2) != HAL_OK)
  {
    Error_Handler();
  }
  PeriphClkInit.PeriphClockSelection = RCC_PERIPHCLK_USART1|RCC_PERIPHCLK_I2C1
                              |RCC_PERIPHCLK_TIM1;
  PeriphClkInit.Usart1ClockSelection = RCC_USART1CLKSOURCE_PCLK1;
  PeriphClkInit.I2c1ClockSelection = RCC_I2C1CLKSOURCE_HSI;
  PeriphClkInit.Tim1ClockSelection = RCC_TIM1CLK_HCLK;
  if (HAL_RCCEx_PeriphCLKConfig(&PeriphClkInit) != HAL_OK)
  {
    Error_Handler();
  }
}

void Error_Handler(void)
{
  while(1)
  {
  }
}

/************************ (C) COPYRIGHT STMicroelectronics *****END OF FILE****/
